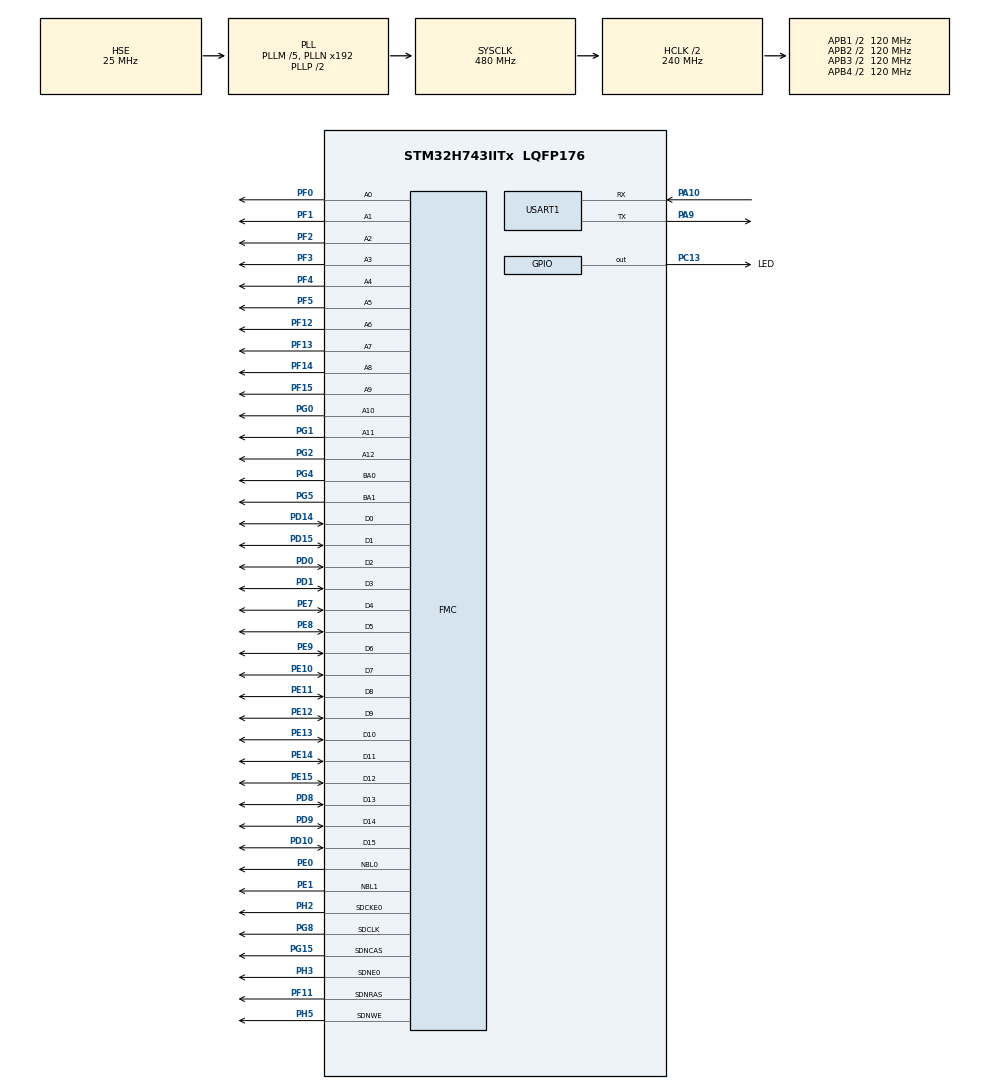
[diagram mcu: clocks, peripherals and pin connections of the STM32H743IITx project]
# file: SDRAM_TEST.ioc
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FMC.CASLatency1=FMC_SDRAM_CAS_LATENCY_3
FMC.ColumnBitsNumber1=FMC_SDRAM_COLUMN_BITS_NUM_9
FMC.ExitSelfRefreshDelay1=7
FMC.LoadToActiveDelay1=2
FMC.RCDDelay1=2
FMC.RPDelay1=2
FMC.RPDelay2=2
FMC.ReadPipeDelay1=FMC_SDRAM_RPIPE_DELAY_1
FMC.ReadPipeDelay2=FMC_SDRAM_RPIPE_DELAY_1
FMC.RowCycleDelay1=7
FMC.RowCycleDelay2=7
FMC.SDClockPeriod1=FMC_SDRAM_CLOCK_PERIOD_2
FMC.SDClockPeriod2=FMC_SDRAM_CLOCK_PERIOD_2
FMC.SelfRefreshTime1=4
FMC.WriteRecoveryTime1=3
Mcu.Family=STM32H7
Mcu.Name=STM32H743IITx
Mcu.Package=LQFP176
NVIC.FMC_IRQn=true\:0\:0\:false\:false\:true\:true\:true\:true
NVIC.PriorityGroup=NVIC_PRIORITYGROUP_4
NVIC.USART1_IRQn=true\:0\:0\:false\:false\:true\:true\:true\:true
PA10.Mode=Asynchronous
PA10.Signal=USART1_RX
PA9.Mode=Asynchronous
PA9.Signal=USART1_TX
PC13.GPIO_Label=LED
PC13.Signal=GPIO_Output
PD0.Signal=FMC_D2_DA2
PD1.Signal=FMC_D3_DA3
PD10.Signal=FMC_D15_DA15
PD14.Signal=FMC_D0_DA0
PD15.Signal=FMC_D1_DA1
PD8.Signal=FMC_D13_DA13
PD9.Signal=FMC_D14_DA14
PE0.Signal=FMC_NBL0
PE1.Signal=FMC_NBL1
PE10.Signal=FMC_D7_DA7
PE11.Signal=FMC_D8_DA8
PE12.Signal=FMC_D9_DA9
PE13.Signal=FMC_D10_DA10
PE14.Signal=FMC_D11_DA11
PE15.Signal=FMC_D12_DA12
PE7.Signal=FMC_D4_DA4
PE8.Signal=FMC_D5_DA5
PE9.Signal=FMC_D6_DA6
PF0.Signal=FMC_A0
PF1.Signal=FMC_A1
PF11.Signal=FMC_SDNRAS
PF12.Signal=FMC_A6
PF13.Signal=FMC_A7
PF14.Signal=FMC_A8
PF15.Signal=FMC_A9
PF2.Signal=FMC_A2
PF3.Signal=FMC_A3
PF4.Signal=FMC_A4
PF5.Signal=FMC_A5
PG0.Signal=FMC_A10
PG1.Signal=FMC_A11
PG15.Signal=FMC_SDNCAS
PG2.Signal=FMC_A12
PG4.Signal=FMC_A14_BA0
PG5.Signal=FMC_A15_BA1
PG8.Signal=FMC_SDCLK
PH0-OSC_IN\ (PH0).Mode=HSE-External-Oscillator
PH0-OSC_IN\ (PH0).Signal=RCC_OSC_IN
PH1-OSC_OUT\ (PH1).Mode=HSE-External-Oscillator
PH1-OSC_OUT\ (PH1).Signal=RCC_OSC_OUT
PH2.Mode=SdramChipSelect1_1
PH2.Signal=FMC_SDCKE0
PH3.Mode=SdramChipSelect1_1
PH3.Signal=FMC_SDNE0
PH5.Signal=FMC_SDNWE
ProjectManager.HeapSize=0x800
ProjectManager.StackSize=0x400
ProjectManager.TargetToolchain=MDK-ARM V5.32
RCC.ADCFreq_Value=50390625
RCC.APB1Freq_Value=120000000
RCC.APB2Freq_Value=120000000
RCC.APB3Freq_Value=120000000
RCC.APB4Freq_Value=120000000
RCC.CortexFreq_Value=480000000
RCC.D1PPRE=RCC_APB3_DIV2
RCC.D2PPRE1=RCC_APB1_DIV2
RCC.D2PPRE2=RCC_APB2_DIV2
RCC.D3PPRE=RCC_APB4_DIV2
RCC.DIVM1=5
RCC.DIVN1=192
RCC.HCLKFreq_Value=240000000
RCC.HPRE=RCC_HCLK_DIV2
RCC.PLLSourceVirtual=RCC_PLLSOURCE_HSE
RCC.PWR_Regulator_Voltage_Scale=PWR_REGULATOR_VOLTAGE_SCALE0
RCC.ProductRev=revV
RCC.SYSCLKFreq_VALUE=480000000
RCC.SYSCLKSource=RCC_SYSCLKSOURCE_PLLCLK
RCC.USBCLockSelection=RCC_USBCLKSOURCE_HSI48
RCC.USBFreq_Value=48000000
SH.FMC_A0.0=FMC_A0,13b-sda1
SH.FMC_A1.0=FMC_A1,13b-sda1
SH.FMC_A10.0=FMC_A10,13b-sda1
SH.FMC_A11.0=FMC_A11,13b-sda1
SH.FMC_A12.0=FMC_A12,13b-sda1
SH.FMC_A14_BA0.0=FMC_BA0,FourSdramBanks1
SH.FMC_A15_BA1.0=FMC_BA1,FourSdramBanks1
SH.FMC_A2.0=FMC_A2,13b-sda1
SH.FMC_A3.0=FMC_A3,13b-sda1
SH.FMC_A4.0=FMC_A4,13b-sda1
SH.FMC_A5.0=FMC_A5,13b-sda1
SH.FMC_A6.0=FMC_A6,13b-sda1
SH.FMC_A7.0=FMC_A7,13b-sda1
SH.FMC_A8.0=FMC_A8,13b-sda1
SH.FMC_A9.0=FMC_A9,13b-sda1
SH.FMC_D0_DA0.0=FMC_D0,sd-16b-d1
SH.FMC_D10_DA10.0=FMC_D10,sd-16b-d1
SH.FMC_D11_DA11.0=FMC_D11,sd-16b-d1
SH.FMC_D12_DA12.0=FMC_D12,sd-16b-d1
SH.FMC_D13_DA13.0=FMC_D13,sd-16b-d1
SH.FMC_D14_DA14.0=FMC_D14,sd-16b-d1
SH.FMC_D15_DA15.0=FMC_D15,sd-16b-d1
SH.FMC_D1_DA1.0=FMC_D1,sd-16b-d1
SH.FMC_D2_DA2.0=FMC_D2,sd-16b-d1
SH.FMC_D3_DA3.0=FMC_D3,sd-16b-d1
SH.FMC_D4_DA4.0=FMC_D4,sd-16b-d1
SH.FMC_D5_DA5.0=FMC_D5,sd-16b-d1
SH.FMC_D6_DA6.0=FMC_D6,sd-16b-d1
SH.FMC_D7_DA7.0=FMC_D7,sd-16b-d1
SH.FMC_D8_DA8.0=FMC_D8,sd-16b-d1
SH.FMC_D9_DA9.0=FMC_D9,sd-16b-d1
SH.FMC_NBL0.0=FMC_NBL0,Sd2ByteEnable1
SH.FMC_NBL1.0=FMC_NBL1,Sd2ByteEnable1
SH.FMC_SDCLK.0=FMC_SDCLK,13b-sda1
SH.FMC_SDNCAS.0=FMC_SDNCAS,13b-sda1
SH.FMC_SDNRAS.0=FMC_SDNRAS,13b-sda1
SH.FMC_SDNWE.0=FMC_SDNWE,13b-sda1
USART1.VirtualMode-Asynchronous=VM_ASYNC
board=custom

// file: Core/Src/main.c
/* USER CODE BEGIN Header */
/**
  ******************************************************************************
  * @file           : main.c
  * @brief          : Main program body
  ******************************************************************************
  * @attention
  *
  * Copyright (c) 2023 STMicroelectronics.
  * All rights reserved.
  *
  * This software is licensed under terms that can be found in the LICENSE file
  * in the root directory of this software component.
  * If no LICENSE file comes with this software, it is provided AS-IS.
  *
  ******************************************************************************
  */
/* USER CODE END Header */
#include "main.h"
#include "usart.h"
#include "gpio.h"
#include "fmc.h"

/* USER CODE BEGIN Includes */
#include "bsp_sdram.h"
#include "stdio.h"
/* USER CODE END Includes */

void SystemClock_Config(void);

/* USER CODE BEGIN 0 */
#ifdef __GNUC__
#define PUTCHAR_PROTOTYPE int __io_putchar(int ch)
#else
#define PUTCHAR_PROTOTYPE int fputc(int ch, FILE *f)
#endif
PUTCHAR_PROTOTYPE
{
    HAL_UART_Transmit(&huart1 , (uint8_t *)&ch, 1, 0xFFFF);
    return ch;
}

#define sdram_addr 0xc0000000
/* USER CODE END 0 */

int main(void)
{

  /* MCU Configuration--------------------------------------------------------*/

  /* Reset of all peripherals, Initializes the Flash interface and the Systick. */
  HAL_Init();

  /* Configure the system clock */
  SystemClock_Config();

  /* Initialize all configured peripherals */
  MX_GPIO_Init();
  MX_FMC_Init();
  MX_USART1_UART_Init();
  /* USER CODE BEGIN 2 */
	SDRAM_InitSequence();
//write sdram
	for(int32_t i=0;i<100;i++)
	{
		*(uint8_t *)(sdram_addr+i)=i+100;
	}
//read sdram
	for(int32_t i=0;i<100;i++)
	{
		printf("addr:	%x	%d\r\n",sdram_addr+i,*(uint8_t *)(sdram_addr+i));
	}
  /* USER CODE END 2 */

  /* Infinite loop */
  /* USER CODE BEGIN WHILE */
  while (1)
  {
		HAL_GPIO_TogglePin(LED_GPIO_Port,LED_Pin);
		HAL_Delay(200);
    /* USER CODE END WHILE */

  }
}

void SystemClock_Config(void)
{
  RCC_OscInitTypeDef RCC_OscInitStruct = {0};
  RCC_ClkInitTypeDef RCC_ClkInitStruct = {0};

  /** Supply configuration update enable
  */
  HAL_PWREx_ConfigSupply(PWR_LDO_SUPPLY);

  /** Configure the main internal regulator output voltage
  */
  __HAL_PWR_VOLTAGESCALING_CONFIG(PWR_REGULATOR_VOLTAGE_SCALE1);

  while(!__HAL_PWR_GET_FLAG(PWR_FLAG_VOSRDY)) {}

  __HAL_RCC_SYSCFG_CLK_ENABLE();
  __HAL_PWR_VOLTAGESCALING_CONFIG(PWR_REGULATOR_VOLTAGE_SCALE0);

  while(!__HAL_PWR_GET_FLAG(PWR_FLAG_VOSRDY)) {}

  /** Initializes the RCC Oscillators according to the specified parameters
  * in the RCC_OscInitTypeDef structure.
  */
  RCC_OscInitStruct.OscillatorType = RCC_OSCILLATORTYPE_HSE;
  RCC_OscInitStruct.HSEState = RCC_HSE_ON;
  RCC_OscInitStruct.PLL.PLLState = RCC_PLL_ON;
  RCC_OscInitStruct.PLL.PLLSource = RCC_PLLSOURCE_HSE;
  RCC_OscInitStruct.PLL.PLLM = 5;
  RCC_OscInitStruct.PLL.PLLN = 192;
  RCC_OscInitStruct.PLL.PLLP = 2;
  RCC_OscInitStruct.PLL.PLLQ = 2;
  RCC_OscInitStruct.PLL.PLLR = 2;
  RCC_OscInitStruct.PLL.PLLRGE = RCC_PLL1VCIRANGE_2;
  RCC_OscInitStruct.PLL.PLLVCOSEL = RCC_PLL1VCOWIDE;
  RCC_OscInitStruct.PLL.PLLFRACN = 0;
  if (HAL_RCC_OscConfig(&RCC_OscInitStruct) != HAL_OK)
  {
    Error_Handler();
  }

  /** Initializes the CPU, AHB and APB buses clocks
  */
  RCC_ClkInitStruct.ClockType = RCC_CLOCKTYPE_HCLK|RCC_CLOCKTYPE_SYSCLK
                              |RCC_CLOCKTYPE_PCLK1|RCC_CLOCKTYPE_PCLK2
                              |RCC_CLOCKTYPE_D3PCLK1|RCC_CLOCKTYPE_D1PCLK1;
  RCC_ClkInitStruct.SYSCLKSource = RCC_SYSCLKSOURCE_PLLCLK;
  RCC_ClkInitStruct.SYSCLKDivider = RCC_SYSCLK_DIV1;
  RCC_ClkInitStruct.AHBCLKDivider = RCC_HCLK_DIV2;
  RCC_ClkInitStruct.APB3CLKDivider = RCC_APB3_DIV2;
  RCC_ClkInitStruct.APB1CLKDivider = RCC_APB1_DIV2;
  RCC_ClkInitStruct.APB2CLKDivider = RCC_APB2_DIV2;
  RCC_ClkInitStruct.APB4CLKDivider = RCC_APB4_DIV2;

  if (HAL_RCC_ClockConfig(&RCC_ClkInitStruct, FLASH_LATENCY_4) != HAL_OK)
  {
    Error_Handler();
  }
}

void Error_Handler(void)
{
  __disable_irq();
  while (1)
  {
  }
}
